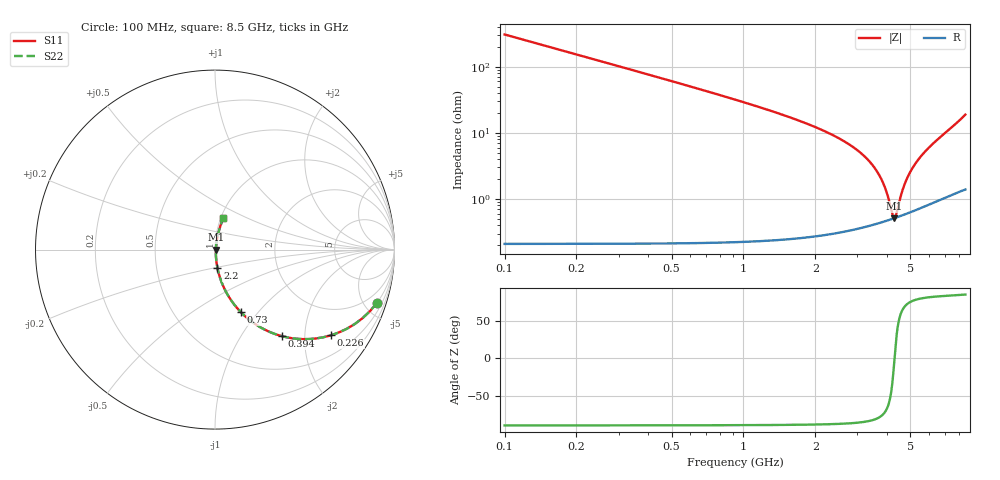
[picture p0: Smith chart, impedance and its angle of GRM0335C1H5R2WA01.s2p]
!Murata Part Number: GRM0335C1H5R2WA01
!These Parameters are Measured in Series Mode Connection
!Data Generated on Mar 30, 2021
!  o--ll--o
!Port1  Port2
!  o------o
!Operation Temp=25[degC], DC Bias Voltage=0[V]
!Freq. Start=100[MHz] Stop=9[GHz] 401[Steps]
# Hz S RI R 50
!Freq.(Hz) S11(Real) S11(Imag) S21(Real) S21(Imag) S12(Real) S12(Imag) S22(Real) S22(Imag)
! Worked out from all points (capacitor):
!   401 points, 100 MHz to 8.5 GHz, reference 50 ohm
!   read as one part in series: C = 5.2 pF near 142 MHz
!   lowest |Z| = 515 mohm at 4.279 GHz (marker M1)
!   series resonance near 4.291 GHz, so ESL is about 260 pH
!   S11 on the Smith chart (normalised r, x): 100 MHz: 1.00, -6.12; 226 MHz: 1.00, -2.70; 394 MHz: 1.00, -1.54; 730 MHz: 1.00, -0.82; 2.2 GHz: 1.01, -0.21; 8.5 GHz: 1.03, +0.38
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1e8  0.9033 -0.2952  0.0967 0.2952  0.0967 0.2952  0.9033 -0.2952
2.26e8  0.6458 -0.4775  0.3542 0.4775  0.3542 0.4775  0.6458 -0.4775
3.94e8  0.3731 -0.4822  0.6269 0.4822  0.6269 0.4822  0.3731 -0.4822
5.41e8  0.238 -0.4239  0.762 0.4239  0.762 0.4239  0.238 -0.4239
7.3e8  0.1441 -0.3486  0.8559 0.3486  0.8559 0.3486  0.1441 -0.3486
1.045e9  0.073 -0.2561  0.927 0.2561  0.927 0.2561  0.073 -0.2561
1.507e9  0.0336 -0.1735  0.9664 0.1735  0.9664 0.1735  0.0336 -0.1735
2.2e9  0.0137 -0.1033  0.9863 0.1033  0.9863 0.1033  0.0137 -0.1033
2.914e9  0.00688 -0.0584  0.9931 0.0584  0.9931 0.0584  0.00688 -0.0584
3.376e9  0.00525 -0.0362  0.9947 0.0362  0.9947 0.0362  0.00525 -0.0362
3.712e9  0.00482 -0.0221  0.9952 0.0221  0.9952 0.0221  0.00482 -0.0221
3.943e9  0.0048 -0.013  0.9952 0.013  0.9952 0.013  0.0048 -0.013
4.216e9  0.00502 -0.00273  0.995 0.00273  0.995 0.00273  0.00502 -0.00273
4.279e9  0.00511 -0.000438  0.9949 0.000438  0.9949 0.000438  0.00511 -0.000438
4.3e9  0.00514 0.000323  0.9949 -0.000323  0.9949 -0.000323  0.00514 0.000323
4.363e9  0.00524 0.00259  0.9948 -0.00259  0.9948 -0.00259  0.00524 0.00259
4.636e9  0.00581 0.0122  0.9942 -0.0122  0.9942 -0.0122  0.00581 0.0122
4.867e9  0.00646 0.0202  0.9935 -0.0202  0.9935 -0.0202  0.00646 0.0202
5.224e9  0.00773 0.0323  0.9923 -0.0323  0.9923 -0.0323  0.00773 0.0323
5.707e9  0.01 0.0488  0.99 -0.0488  0.99 -0.0488  0.01 0.0488
7.114e9  0.0212 0.1014  0.9788 -0.1014  0.9788 -0.1014  0.0212 0.1014
8.5e9  0.0466 0.1769  0.9534 -0.1769  0.9534 -0.1769  0.0466 0.1769
